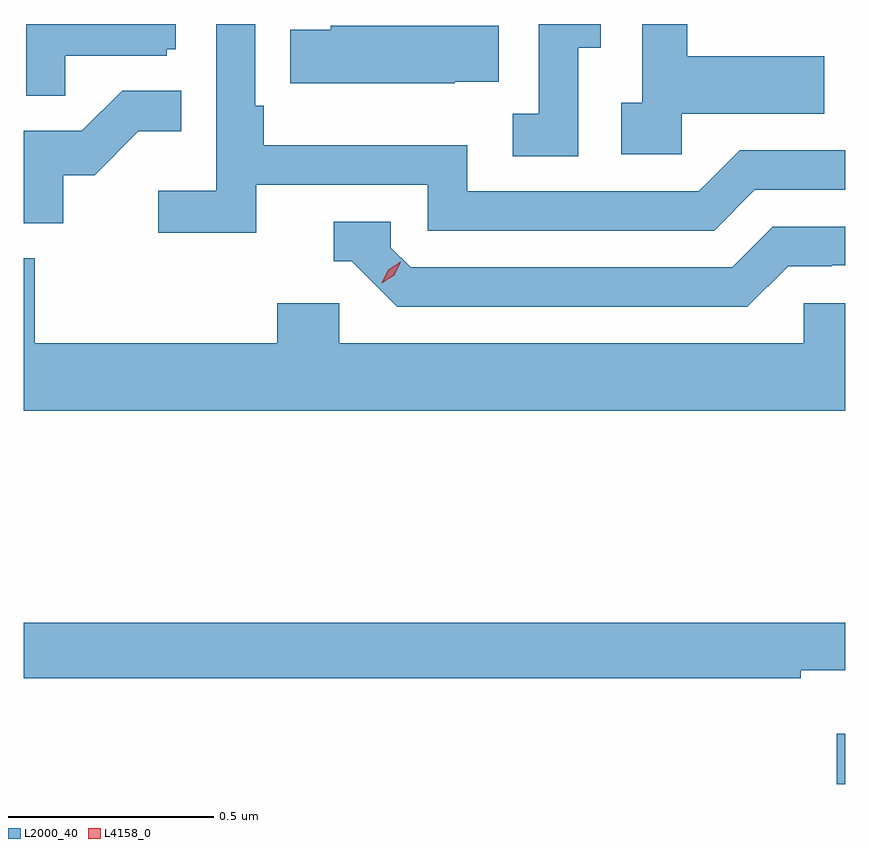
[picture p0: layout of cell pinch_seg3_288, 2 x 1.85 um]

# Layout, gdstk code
import gdstk
lib = gdstk.Library(unit=1e-6, precision=1e-09)
def R(c, l, rs):  # rectangles x0, y0, x1, y1
    for r in rs: c.add(gdstk.rectangle(r[:2], r[2:], *l))
def P(c, l, *ps):  # polygons
    for p in ps: c.add(gdstk.Polygon(p, *l))
L2000_40 = (2000, 40)
L4158_0 = (4158, 0)

pinch_seg3_288 = lib.new_cell('pinch_seg3_288')
R(pinch_seg3_288, L2000_40, [(946.998,713.327,947.018,713.449)])
P(pinch_seg3_288, L2000_40, [(946.368,715.12),(946.423,715.12),(946.423,715.178),(946.272,715.178),(946.272,714.959),(946.209,714.959),(946.209,714.856),(946.368,714.856)],
  [(946.62,714.959),(946.967,714.959),(946.967,715.099),(946.633,715.099),(946.633,715.178),(946.524,715.178),(946.524,714.986),(946.473,714.986),(946.473,714.861),(946.62,714.861)],
  [(945.584,714.786),(946.002,714.786),(946.002,714.675),(946.699,714.675),(946.798,714.774),(947.018,714.774),(947.018,714.87),(946.761,714.87),(946.662,714.771),(946.098,714.771),(946.098,714.883),(945.602,714.883),(945.602,714.979),(945.582,714.979),(945.582,715.178),(945.486,715.178),(945.486,714.772),(945.345,714.772),(945.345,714.67),(945.584,714.67)],
  [(945.119,715.101),(945.366,715.101),(945.366,715.116),(945.388,715.116),(945.388,715.178),(945.024,715.178),(945.024,715.003),(945.119,715.003)],
  [(946.067,715.037),(946.175,715.037),(946.175,715.174),(945.765,715.174),(945.765,715.164),(945.667,715.164),(945.667,715.034),(946.067,715.034)],
  [(945.114,714.81),(945.19,714.81),(945.297,714.917),(945.401,714.917),(945.401,715.016),(945.257,715.016),(945.159,714.918),(945.018,714.918),(945.018,714.693),(945.114,714.693)],
  [(946.879,714.588),(946.986,714.588),(946.986,714.591),(947.018,714.591),(947.018,714.684),(946.842,714.684),(946.743,714.585),(945.96,714.585),(945.912,714.633),(945.912,714.696),(945.773,714.696),(945.773,714.6),(945.816,714.6),(945.927,714.489),(946.78,714.489)],
  [(947.018,714.498),(946.917,714.498),(946.917,714.4),(945.786,714.4),(945.786,714.498),(945.635,714.498),(945.635,714.4),(945.044,714.4),(945.044,714.608),(945.018,714.608),(945.018,714.236),(947.018,714.236)],
  [(946.91,713.604),(947.018,713.604),(947.018,713.72),(945.018,713.72),(945.018,713.584),(946.91,713.584)])
P(pinch_seg3_288, L4158_0, [(945.889,714.546),(945.889,714.547),(945.905,714.579),(945.936,714.599),(945.936,714.599),(945.936,714.598),(945.92,714.566),(945.89,714.546)])

lib.write_gds('pinch_seg3_288.gds')
